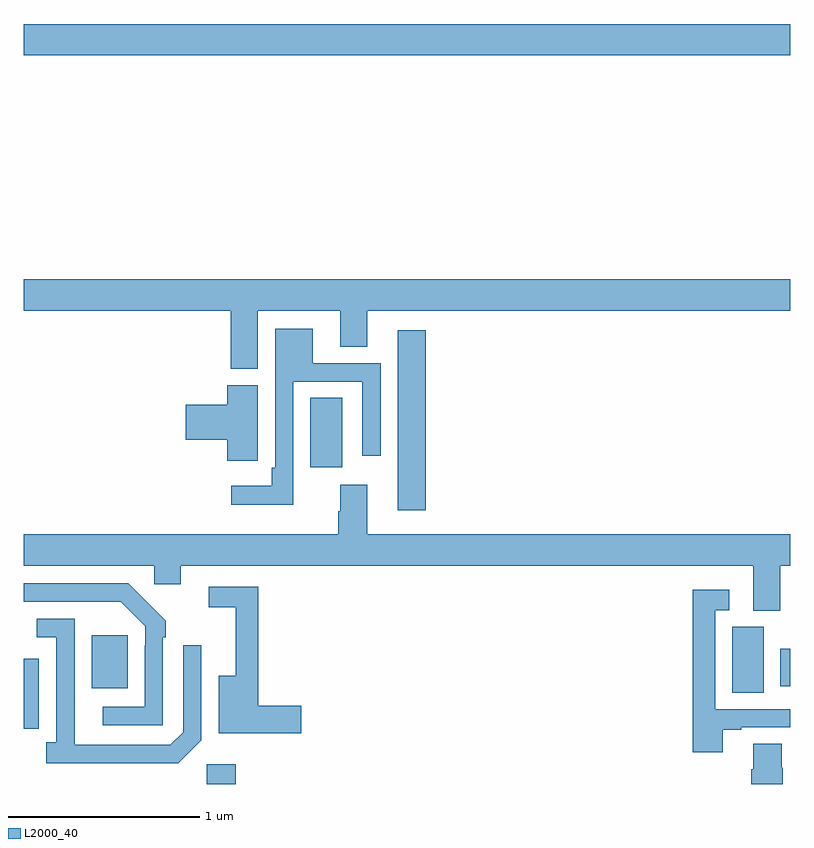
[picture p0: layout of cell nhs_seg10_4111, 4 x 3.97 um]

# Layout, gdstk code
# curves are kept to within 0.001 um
import gdstk
lib = gdstk.Library(unit=1e-6, precision=1e-09)
def R(c, l, rs):  # rectangles x0, y0, x1, y1
    for r in rs: c.add(gdstk.rectangle(r[:2], r[2:], *l))
def P(c, l, *ps):  # polygons
    for p in ps: c.add(gdstk.Polygon(p, *l))
L2000_40 = (2000, 40)

nhs_seg10_4111 = lib.new_cell('nhs_seg10_4111')
R(nhs_seg10_4111, L2000_40, [(339.954,1308.5,340.106,1308.604), (342.698,1308.976,342.862,1309.32), (339.353,1309.001,339.541,1309.276), (342.95,1309.011,343,1309.207), (340.952,1309.929,341.099,1310.869), (340.496,1310.154,340.663,1310.516), (339,1312.304,343,1312.468)])
P(nhs_seg10_4111, L2000_40, [(340.222,1310.972),(340.652,1310.972),(340.652,1310.782),(340.792,1310.782),(340.792,1310.972),(343,1310.972),(343,1311.136),(339,1311.136),(339,1310.972),(340.079,1310.972),(340.079,1310.668),(340.222,1310.668)],
  [(340.407,1310.601),(340.767,1310.601),(340.767,1310.214),(340.863,1310.214),(340.863,1310.697),(340.507,1310.697),(340.507,1310.878),(340.311,1310.878),(340.311,1310.152),(340.295,1310.152),(340.295,1310.056),(340.083,1310.056),(340.083,1309.958),(340.407,1309.958)],
  [(340.221,1310.299),(340.222,1310.299),(340.222,1310.583),(340.061,1310.583),(340.061,1310.48),(339.846,1310.48),(339.846,1310.297),(340.061,1310.297),(340.061,1310.187),(340.221,1310.187)],
  [(342.949,1309.64),(343,1309.64),(343,1309.804),(340.792,1309.804),(340.792,1310.062),(340.652,1310.062),(340.652,1309.925),(340.64,1309.925),(340.64,1309.804),(339,1309.804),(339,1309.64),(339.681,1309.64),(339.681,1309.542),(339.82,1309.542),(339.82,1309.64),(342.809,1309.64),(342.809,1309.405),(342.949,1309.405)],
  [(339.726,1309.265),(339.741,1309.265),(339.741,1309.353),(339.544,1309.548),(339,1309.548),(339,1309.452),(339.505,1309.452),(339.633,1309.323),(339.633,1309.223),(339.63,1309.223),(339.63,1308.903),(339.411,1308.903),(339.411,1308.807),(339.726,1308.807)],
  [(340.447,1308.908),(340.223,1308.908),(340.223,1309.53),(339.966,1309.53),(339.966,1309.422),(340.106,1309.422),(340.106,1309.066),(340.016,1309.066),(340.016,1308.766),(340.447,1308.766)],
  [(342.649,1308.783),(342.745,1308.783),(342.745,1308.795),(343,1308.795),(343,1308.891),(342.609,1308.891),(342.609,1309.407),(342.682,1309.407),(342.682,1309.513),(342.493,1309.513),(342.493,1308.666),(342.649,1308.666)],
  [(339.927,1308.729),(339.927,1309.225),(339.831,1309.225),(339.831,1308.771),(339.765,1308.705),(339.265,1308.705),(339.264,1309.362),(339.066,1309.362),(339.066,1309.266),(339.168,1309.266),(339.168,1308.718),(339.117,1308.718),(339.117,1308.608),(339.806,1308.608)],
  [(339.077,1308.898),(339.078,1308.898),(339.078,1309.153),(339,1309.153),(339,1308.789),(339.077,1308.789)],
  [(342.962,1308.585),(342.957,1308.585),(342.957,1308.71),(342.809,1308.71),(342.809,1308.578),(342.797,1308.578),(342.797,1308.5),(342.962,1308.5)])

lib.write_gds('nhs_seg10_4111.gds')
